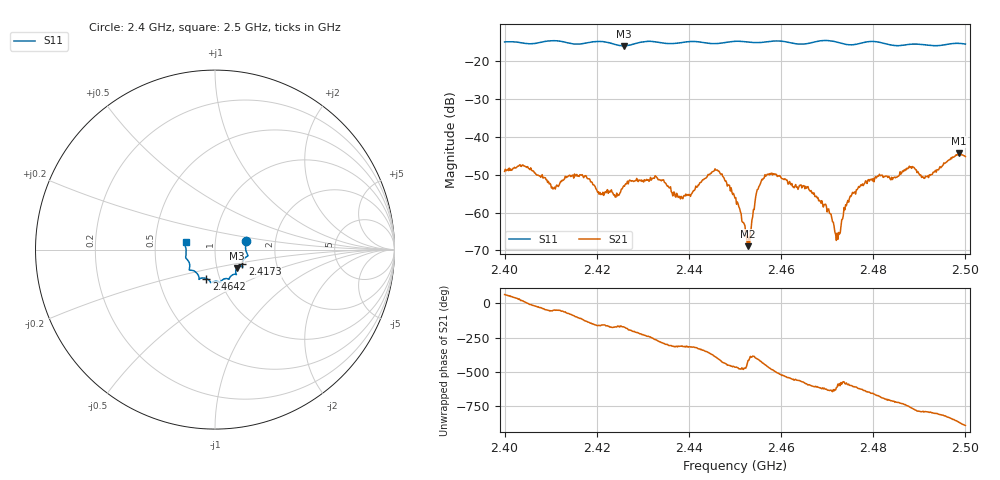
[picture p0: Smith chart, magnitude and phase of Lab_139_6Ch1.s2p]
# Hz S RI R 50
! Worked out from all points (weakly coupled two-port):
!   601 points, 2.4 GHz to 2.5 GHz, reference 50 ohm
!   highest |S21| = -44.36 dB at 2.4987 GHz (marker M1); lowest = -68.9 dB at 2.4528 GHz (marker M2)
!   lowest |S11| = -15.9 dB at 2.4258 GHz (marker M3), VSWR 1.38, Z = 62.4 - j13.2 ohm
!   |S11| at or under -10 dB: start of sweep to end of sweep
!   S12 and S22 are empty: the file has one direction only
!   S11 on the Smith chart (normalised r, x): 2.4 GHz: 1.41, +0.14; 2.4173 GHz: 1.34, -0.23; 2.4642 GHz: 0.86, -0.29; 2.5 GHz: 0.72, +0.06
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2.4e9  0.1731 0.0495  0.00151 0.00316  0 0  0 0
2.4045e9  0.171 0.0208  0.00401 0.000645  0 0  0 0
2.410667e9  0.1841 -0.0343  0.00137 -0.00158  0 0  0 0
2.416667e9  0.1531 -0.0741  -0.0012 -0.0029  0 0  0 0
2.417333e9  0.1522 -0.0817  -0.0018 -0.00245  0 0  0 0
2.421e9  0.1547 -0.097  -0.00162 -0.000676  0 0  0 0
2.425833e9  0.1222 -0.1032  -0.00222 -0.000369  0 0  0 0
2.433333e9  0.1135 -0.1372  0.000232 0.0027  0 0  0 0
2.438167e9  0.0819 -0.1557  0.00101 0.00113  0 0  0 0
2.446e9  0.0474 -0.1647  0.00296 -0.00213  0 0  0 0
2.45e9  0.0286 -0.1815  -0.000421 -0.0015  0 0  0 0
2.452833e9  0.0182 -0.1785  0.0002 -0.0003  0 0  0 0
2.454833e9  0.00351 -0.1764  0.00141 -0.00143  0 0  0 0
2.456333e9  -0.00901 -0.1789  0.000361 -0.00283  0 0  0 0
2.464167e9  -0.0483 -0.1615  -0.00207 0.00101  0 0  0 0
2.466667e9  -0.0764 -0.159  -0.000842 0.00161  0 0  0 0
2.472333e9  -0.0893 -0.1537  -0.000295 0.000332  0 0  0 0
2.4755e9  -0.1115 -0.1219  -0.000808 0.00167  0 0  0 0
2.483333e9  -0.1406 -0.0895  0.00285 0.000967  0 0  0 0
2.4915e9  -0.1615 -0.0298  0.00106 -0.0028  0 0  0 0
2.498667e9  -0.1688 0.0356  -0.00511 -0.00326  0 0  0 0
2.5e9  -0.1635 0.0426  -0.00541 -0.000955  0 0  0 0
